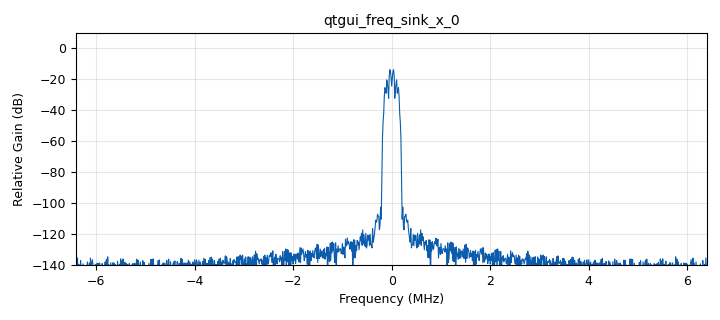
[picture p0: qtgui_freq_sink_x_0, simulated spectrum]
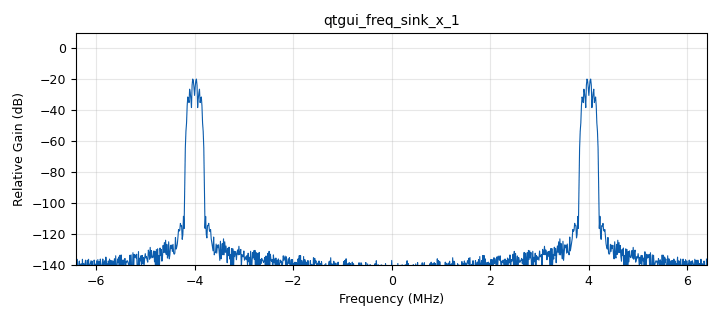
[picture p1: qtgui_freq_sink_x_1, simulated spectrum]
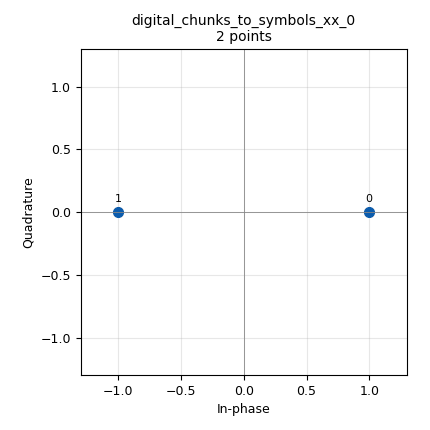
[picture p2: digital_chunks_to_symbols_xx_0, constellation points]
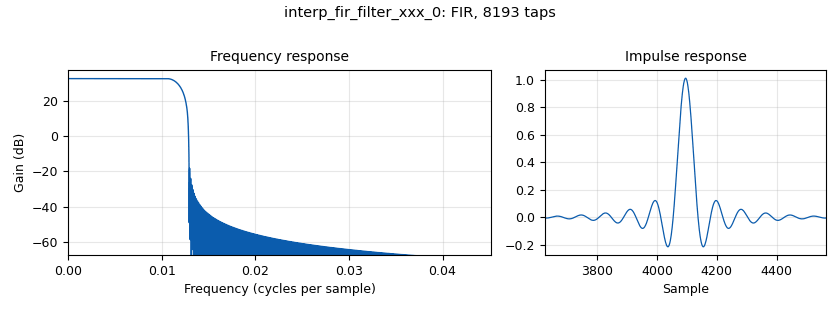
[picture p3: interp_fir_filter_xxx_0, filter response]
options:
  parameters:
    author: Akash Shaw | Ansul Jain
    generate_options: qt_gui
    id: RRC_Pass
    output_language: python
    title: RRC_Passband
  states: {}

blocks:
- name: EB
  id: variable
  parameters:
    value: '0.1'
  states: {}
- name: N
  id: variable
  parameters:
    value: '2'
  states: {}
- name: bit_rate
  id: variable
  parameters:
    value: '300000'
  states: {}
- name: rrc_taps
  id: variable
  parameters:
    value: numpy.array(firdes.root_raised_cosine(samp_rate//bit_rate,samp_rate,bit_rate,EB,8192))
  states: {}
- name: samp_rate
  id: variable
  parameters:
    value: 200000*64
  states: {}
- name: analog_random_source_x_0
  id: analog_random_source_x
  parameters:
    max: N
    min: '0'
    num_samps: '1024'
    repeat: 'True'
    type: int
  states: {}
- name: analog_sig_source_x_0
  id: analog_sig_source_x
  parameters:
    amp: '1'
    freq: '4000000'
    offset: '0'
    phase: '0'
    samp_rate: samp_rate
    type: complex
    waveform: analog.GR_COS_WAVE
  states: {}
- name: blocks_complex_to_real_0
  id: blocks_complex_to_real
  parameters: {}
  states: {}
- name: blocks_multiply_xx_0
  id: blocks_multiply_xx
  parameters:
    type: complex
  states: {}
- name: blocks_throttle2_0
  id: blocks_throttle2
  parameters:
    samples_per_second: samp_rate
    type: complex
  states: {}
- name: digital_chunks_to_symbols_xx_0
  id: digital_chunks_to_symbols_xx
  parameters:
    dimension: '1'
    in_type: int
    out_type: complex
    symbol_table: numpy.exp(1j*2*numpy.pi*numpy.arange(N)/N)
  states: {}
- name: import_0
  id: import
  parameters:
    imports: import numpy
  states: {}
- name: interp_fir_filter_xxx_0
  id: interp_fir_filter_xxx
  parameters:
    interp: samp_rate//bit_rate
    taps: rrc_taps
    type: ccf
  states: {}
- name: qtgui_freq_sink_x_0
  id: qtgui_freq_sink_x
  parameters:
    bw: samp_rate
    fc: '0'
    fftsize: '1024'
    type: complex
  states: {}
- name: qtgui_freq_sink_x_1
  id: qtgui_freq_sink_x
  parameters:
    bw: samp_rate
    fc: '0'
    fftsize: '1024'
    type: float
  states: {}
- name: virtual_sink_0
  id: virtual_sink
  parameters:
    stream_id: passband
  states: {}
- name: virtual_source_0
  id: virtual_source
  parameters:
    stream_id: passband
  states: {}

connections:
- [analog_random_source_x_0, '0', digital_chunks_to_symbols_xx_0, '0']
- [analog_sig_source_x_0, '0', blocks_multiply_xx_0, '1']
- [blocks_complex_to_real_0, '0', qtgui_freq_sink_x_1, '0']
- [blocks_multiply_xx_0, '0', blocks_complex_to_real_0, '0']
- [blocks_throttle2_0, '0', qtgui_freq_sink_x_0, '0']
- [blocks_throttle2_0, '0', virtual_sink_0, '0']
- [digital_chunks_to_symbols_xx_0, '0', interp_fir_filter_xxx_0, '0']
- [interp_fir_filter_xxx_0, '0', blocks_throttle2_0, '0']
- [virtual_source_0, '0', blocks_multiply_xx_0, '0']

metadata:
  file_format: 1
  grc_version: 3.10.10.0
